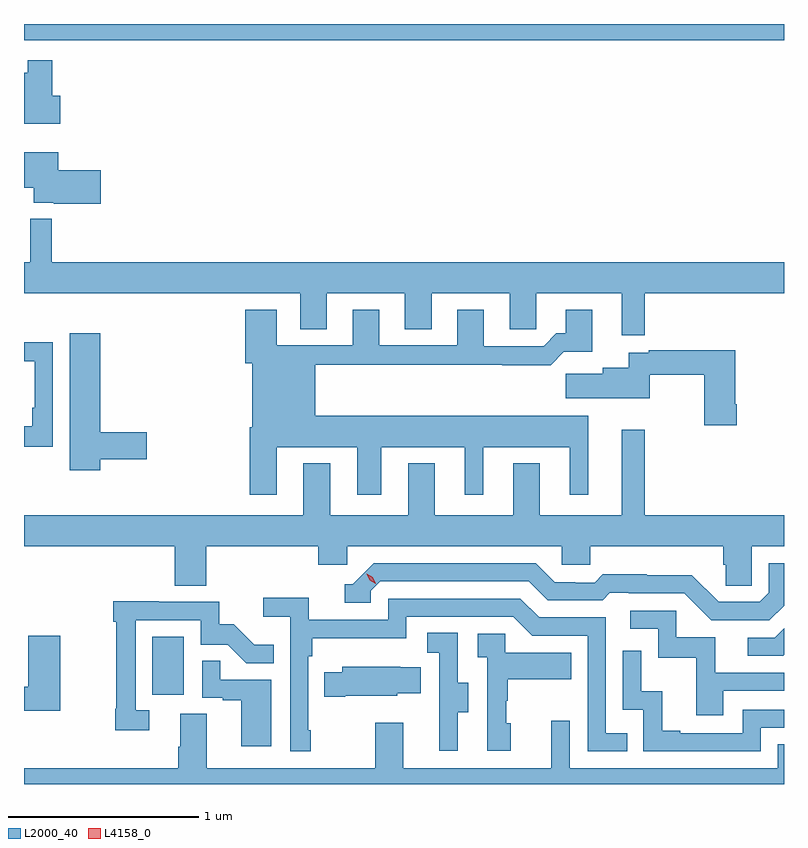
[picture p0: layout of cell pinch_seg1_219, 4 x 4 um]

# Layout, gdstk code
import gdstk
lib = gdstk.Library(unit=1e-6, precision=1e-09)
def R(c, l, rs):  # rectangles x0, y0, x1, y1
    for r in rs: c.add(gdstk.rectangle(r[:2], r[2:], *l))
def P(c, l, *ps):  # polygons
    for p in ps: c.add(gdstk.Polygon(p, *l))
L2000_40 = (2000, 40)
L4158_0 = (4158, 0)

pinch_seg1_219 = lib.new_cell('pinch_seg1_219')
R(pinch_seg1_219, L2000_40, [(995.156,564.27,995.32,564.577), (994.48,567.716,998.48,567.801)])
P(pinch_seg1_219, L2000_40, [(994.672,567.423),(994.628,567.423),(994.628,567.61),(994.5,567.61),(994.5,567.544),(994.48,567.544),(994.48,567.275),(994.672,567.275)],
  [(994.885,567.032),(994.66,567.032),(994.66,567.127),(994.48,567.127),(994.48,566.939),(994.532,566.939),(994.532,566.861),(994.636,566.861),(994.636,566.856),(994.885,566.856)],
  [(997.747,566.384),(998.48,566.384),(998.48,566.548),(994.626,566.548),(994.626,566.776),(994.514,566.776),(994.514,566.548),(994.48,566.548),(994.48,566.384),(995.933,566.384),(995.933,566.194),(996.073,566.194),(996.073,566.384),(996.485,566.384),(996.485,566.194),(996.625,566.194),(996.625,566.384),(997.037,566.384),(997.037,566.194),(997.176,566.194),(997.176,566.384),(997.625,566.384),(997.625,566.163),(997.747,566.163)],
  [(995.809,565.574),(996.233,565.574),(996.233,565.323),(996.361,565.323),(996.361,565.574),(996.8,565.574),(996.8,565.323),(996.898,565.323),(996.898,565.574),(997.352,565.574),(997.352,565.323),(997.45,565.323),(997.45,565.738),(996.013,565.738),(996.013,566.008),(996.997,566.008),(996.997,566.006),(997.253,566.006),(997.322,566.075),(997.471,566.075),(997.471,566.296),(997.331,566.296),(997.331,566.173),(997.282,566.173),(997.215,566.106),(996.901,566.106),(996.901,566.296),(996.761,566.296),(996.761,566.109),(996.349,566.109),(996.349,566.296),(996.209,566.296),(996.209,566.109),(995.809,566.109),(995.809,566.296),(995.645,566.296),(995.645,566.016),(995.681,566.016),(995.681,565.678),(995.669,565.678),(995.669,565.323),(995.809,565.323)],
  [(994.882,565.51),(995.125,565.51),(995.125,565.652),(994.882,565.652),(994.882,566.173),(994.721,566.173),(994.721,565.452),(994.882,565.452)],
  [(994.632,566.126),(994.48,566.126),(994.48,566.025),(994.536,566.025),(994.536,565.78),(994.523,565.78),(994.523,565.684),(994.48,565.684),(994.48,565.575),(994.632,565.575)],
  [(998.232,565.801),(998.224,565.801),(998.224,566.083),(997.768,566.083),(997.768,566.07),(997.664,566.07),(997.664,565.993),(997.526,565.993),(997.526,565.961),(997.332,565.961),(997.332,565.832),(997.774,565.832),(997.774,565.954),(998.059,565.954),(998.059,565.689),(998.232,565.689)],
  [(995.438,565.052),(996.029,565.052),(996.029,564.954),(996.18,564.954),(996.18,565.052),(997.311,565.052),(997.311,564.954),(997.461,564.954),(997.461,565.052),(998.159,565.052),(998.159,564.954),(998.173,564.954),(998.173,564.844),(998.31,564.844),(998.31,565.052),(998.48,565.052),(998.48,565.216),(997.747,565.216),(997.747,565.666),(997.625,565.666),(997.625,565.216),(997.195,565.216),(997.195,565.489),(997.055,565.489),(997.055,565.216),(996.643,565.216),(996.643,565.489),(996.503,565.489),(996.503,565.216),(996.091,565.216),(996.091,565.489),(995.951,565.489),(995.951,565.216),(994.48,565.216),(994.48,565.052),(995.273,565.052),(995.273,564.844),(995.438,564.844)],
  [(998.48,564.74),(998.48,564.963),(998.4,564.963),(998.4,564.807),(998.352,564.759),(998.136,564.759),(997.994,564.901),(997.758,564.901),(997.758,564.904),(997.525,564.904),(997.483,564.861),(997.38,564.861),(997.38,564.864),(997.273,564.864),(997.174,564.963),(996.321,564.963),(996.21,564.852),(996.167,564.852),(996.167,564.756),(996.306,564.756),(996.306,564.819),(996.354,564.867),(997.137,564.867),(997.236,564.768),(997.525,564.768),(997.564,564.807),(997.663,564.807),(997.663,564.804),(997.956,564.804),(998.097,564.663),(998.403,564.663)],
  [(995.989,564.085),(995.976,564.085),(995.976,564.473),(995.996,564.473),(995.996,564.569),(996.492,564.569),(996.492,564.681),(997.056,564.681),(997.155,564.582),(997.446,564.582),(997.446,563.973),(997.655,563.973),(997.655,564.069),(997.542,564.069),(997.542,564.678),(997.192,564.678),(997.093,564.777),(996.396,564.777),(996.396,564.666),(995.978,564.666),(995.978,564.782),(995.739,564.782),(995.739,564.68),(995.88,564.68),(995.88,563.973),(995.989,563.973)],
  [(995.14,564.189),(995.067,564.189),(995.067,564.663),(995.409,564.663),(995.409,564.534),(995.553,564.534),(995.651,564.436),(995.795,564.436),(995.795,564.535),(995.691,564.535),(995.584,564.642),(995.508,564.642),(995.508,564.759),(995.189,564.759),(995.189,564.764),(994.951,564.764),(994.951,564.656),(994.966,564.656),(994.966,564.196),(994.959,564.196),(994.959,564.084),(995.14,564.084)],
  [(998.161,564.291),(998.48,564.291),(998.48,564.387),(998.119,564.387),(998.119,564.573),(997.914,564.573),(997.914,564.714),(997.671,564.714),(997.671,564.618),(997.818,564.618),(997.818,564.465),(998.017,564.465),(998.017,564.162),(998.161,564.162)],
  [(998.48,564.481),(998.48,564.62),(998.43,564.57),(998.289,564.57),(998.289,564.477),(998.476,564.477)],
  [(996.763,564.178),(996.817,564.178),(996.817,564.333),(996.762,564.333),(996.762,564.596),(996.603,564.596),(996.603,564.493),(996.666,564.493),(996.666,564.189),(996.665,564.189),(996.665,563.976),(996.763,563.976)],
  [(997.042,564.12),(997.017,564.12),(997.017,564.239),(997.027,564.239),(997.027,564.353),(997.361,564.353),(997.361,564.493),(997.014,564.493),(997.014,564.591),(996.867,564.591),(996.867,564.467),(996.918,564.467),(996.918,563.976),(997.042,563.976)],
  [(994.672,564.58),(994.502,564.58),(994.502,564.314),(994.48,564.314),(994.48,564.186),(994.672,564.186)],
  [(998.358,564.096),(998.48,564.096),(998.48,564.192),(998.262,564.192),(998.262,564.069),(997.933,564.069),(997.933,564.082),(997.838,564.082),(997.838,564.29),(997.728,564.29),(997.728,564.502),(997.632,564.502),(997.632,564.192),(997.74,564.192),(997.74,563.973),(998.358,563.973)],
  [(995.782,564.351),(995.513,564.351),(995.513,564.449),(995.418,564.449),(995.418,564.255),(995.525,564.255),(995.525,564.243),(995.624,564.243),(995.624,564),(995.782,564)],
  [(996.172,564.266),(996.444,564.266),(996.444,564.278),(996.569,564.278),(996.569,564.415),(996.461,564.415),(996.461,564.418),(996.155,564.418),(996.155,564.388),(996.061,564.388),(996.061,564.259),(996.172,564.259)],
  [(998.48,564.011),(998.448,564.011),(998.448,563.884),(997.353,563.884),(997.353,564.133),(997.256,564.133),(997.256,563.884),(996.475,563.884),(996.475,564.124),(996.328,564.124),(996.328,563.884),(995.443,563.884),(995.443,564.17),(995.303,564.17),(995.303,563.996),(995.291,563.996),(995.291,563.884),(994.48,563.884),(994.48,563.801),(998.48,563.801)])
P(pinch_seg1_219, L4158_0, [(996.332,564.854),(996.301,564.874),(996.284,564.907),(996.284,564.907),(996.285,564.907),(996.316,564.888),(996.332,564.855),(996.332,564.854)])

lib.write_gds('pinch_seg1_219.gds')
